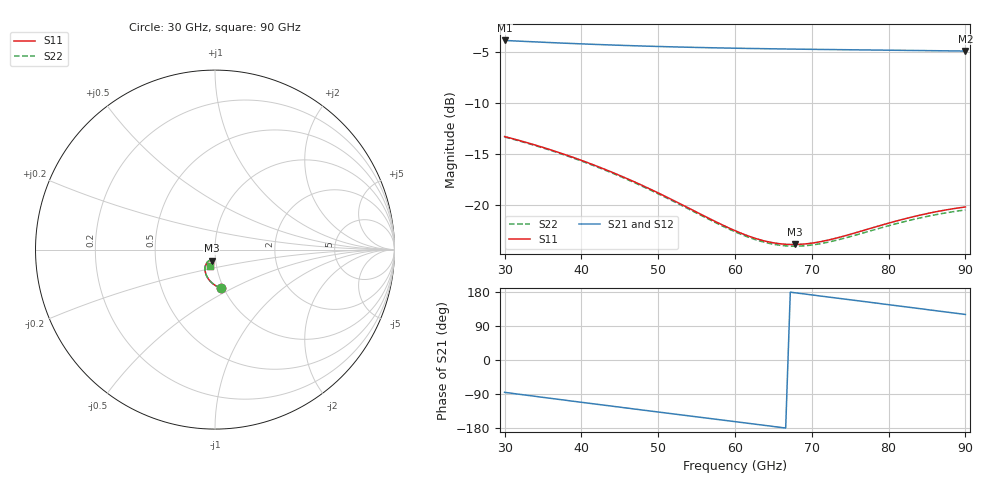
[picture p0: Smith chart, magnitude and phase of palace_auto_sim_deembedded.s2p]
! Created with skrf 1.11.0 (http://scikit-rf.org).
# GHz S DB R 50.0
!freq dBS11 angS11 dBS21 angS21 dBS12 angS12 dBS22 angS22
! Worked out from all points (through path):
!   101 points, 30 GHz to 90 GHz, reference 50 ohm
!   highest |S21| = -3.82 dB at 30 GHz (marker M1); lowest = -4.9 dB at 90 GHz (marker M2)
!   group delay of S21, straight-line fit = 7.12 ps
!   lowest |S11| = -23.9 dB at 67.8 GHz (marker M3), VSWR 1.14, Z = 47.9 - j5.93 ohm
!   |S11| at or under -10 dB: start of sweep to end of sweep
!   |S22| runs from -24.0 to -13.3 dB; largest |S21 - S12| = 5.7e-16
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30  -13.26 -81.2  -3.82 -85.3  -3.82 -85.3  -13.31 -81.3
32.4  -13.75 -86.9  -3.91 -91.7  -3.91 -91.7  -13.80 -87.1
34.8  -14.29 -92.4  -3.99 -98.0  -3.99 -98.0  -14.34 -92.7
37.2  -14.86 -97.7  -4.07 -104.3  -4.07 -104.3  -14.93 -97.9
40.2  -15.66 -103.8  -4.16 -112.1  -4.16 -112.1  -15.72 -104.1
45  -17.09 -112.2  -4.30 -124.4  -4.30 -124.4  -17.17 -112.6
48  -18.09 -116.4  -4.37 -132.1  -4.37 -132.1  -18.18 -116.9
50.4  -18.95 -119.0  -4.42 -138.2  -4.42 -138.2  -19.04 -119.6
55.2  -20.76 -121.5  -4.51 -150.5  -4.51 -150.5  -20.86 -122.3
57.6  -21.67 -121.0  -4.55 -156.6  -4.55 -156.6  -21.78 -121.9
60  -22.51 -119.2  -4.58 -162.7  -4.58 -162.7  -22.62 -120.2
62.4  -23.21 -116.0  -4.61 -168.8  -4.61 -168.8  -23.33 -117.1
64.2  -23.59 -112.9  -4.63 -173.4  -4.63 -173.4  -23.72 -114.1
66  -23.81 -109.4  -4.65 -178.0  -4.65 -178.0  -23.96 -110.7
67.8  -23.87 -105.9  -4.67 177.4  -4.67 177.4  -24.04 -107.3
70.2  -23.72 -101.7  -4.69 171.2  -4.69 171.2  -23.90 -103.2
72.6  -23.35 -98.6  -4.72 165.1  -4.72 165.1  -23.56 -100.1
75  -22.87 -96.7  -4.74 158.9  -4.74 158.9  -23.10 -98.3
77.4  -22.34 -96.0  -4.76 152.7  -4.76 152.7  -22.58 -97.7
80.4  -21.69 -96.7  -4.78 145.0  -4.78 145.0  -21.95 -98.4
85.2  -20.80 -100.4  -4.82 132.6  -4.82 132.6  -21.08 -102.1
90  -20.18 -106.0  -4.86 120.2  -4.86 120.2  -20.48 -107.9
